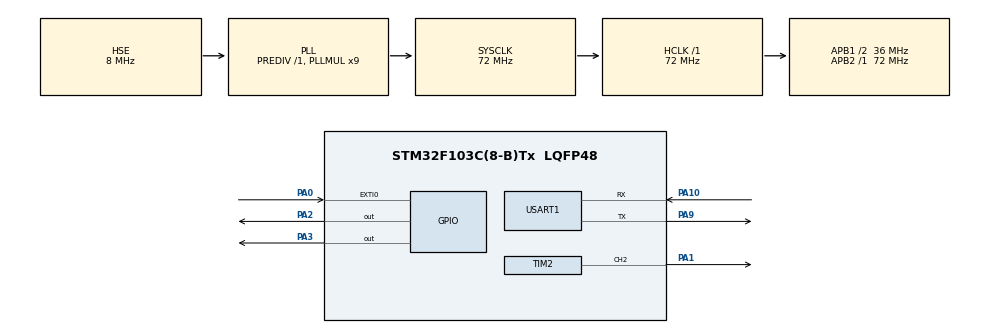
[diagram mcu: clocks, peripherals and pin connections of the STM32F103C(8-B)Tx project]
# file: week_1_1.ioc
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Mcu.Family=STM32F1
Mcu.Name=STM32F103C(8-B)Tx
Mcu.Package=LQFP48
NVIC.EXTI0_IRQn=true\:0\:0\:false\:false\:true\:true\:true\:true
NVIC.PriorityGroup=NVIC_PRIORITYGROUP_4
NVIC.TIM3_IRQn=true\:0\:0\:false\:false\:true\:true\:true\:true
NVIC.USART1_IRQn=true\:0\:0\:false\:false\:true\:true\:true\:true
PA0-WKUP.GPIO_PuPd=GPIO_PULLDOWN
PA0-WKUP.Signal=GPXTI0
PA1.Signal=S_TIM2_CH2
PA10.Mode=Asynchronous
PA10.Signal=USART1_RX
PA13.Mode=Serial_Wire
PA13.Signal=SYS_JTMS-SWDIO
PA14.Mode=Serial_Wire
PA14.Signal=SYS_JTCK-SWCLK
PA2.PinState=GPIO_PIN_SET
PA2.Signal=GPIO_Output
PA3.PinState=GPIO_PIN_SET
PA3.Signal=GPIO_Output
PA9.Mode=Asynchronous
PA9.Signal=USART1_TX
PC14-OSC32_IN.Mode=LSE-External-Oscillator
PC14-OSC32_IN.Signal=RCC_OSC32_IN
PC15-OSC32_OUT.Mode=LSE-External-Oscillator
PC15-OSC32_OUT.Signal=RCC_OSC32_OUT
PD0-OSC_IN.Mode=HSE-External-Oscillator
PD0-OSC_IN.Signal=RCC_OSC_IN
PD1-OSC_OUT.Mode=HSE-External-Oscillator
PD1-OSC_OUT.Signal=RCC_OSC_OUT
ProjectManager.HeapSize=0x200
ProjectManager.StackSize=0x400
ProjectManager.TargetToolchain=MDK-ARM V5.32
RCC.AHBFreq_Value=72000000
RCC.APB1CLKDivider=RCC_HCLK_DIV2
RCC.APB1Freq_Value=36000000
RCC.APB1TimFreq_Value=72000000
RCC.APB2Freq_Value=72000000
RCC.APB2TimFreq_Value=72000000
RCC.HCLKFreq_Value=72000000
RCC.PLLMUL=RCC_PLL_MUL9
RCC.PLLSourceVirtual=RCC_PLLSOURCE_HSE
RCC.SYSCLKFreq_VALUE=72000000
RCC.SYSCLKSource=RCC_SYSCLKSOURCE_PLLCLK
RCC.USBFreq_Value=72000000
SH.S_TIM2_CH2.0=TIM2_CH2,PWM Generation2 CH2
TIM2.Channel-PWM\ Generation2\ CH2=TIM_CHANNEL_2
TIM2.Period=999
TIM2.Prescaler=71
TIM3.AutoReloadPreload=TIM_AUTORELOAD_PRELOAD_ENABLE
TIM3.Period=4999
TIM3.Prescaler=7199
USART1.VirtualMode=VM_ASYNC
VP_TIM2_VS_ClockSourceINT.Mode=Internal
VP_TIM3_VS_ClockSourceINT.Mode=Internal
board=custom

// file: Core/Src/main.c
/* USER CODE BEGIN Header */
/**
  ******************************************************************************
  * @file           : main.c
  * @brief          : Main program body
  ******************************************************************************
  * @attention
  *
  * Copyright (c) 2026 STMicroelectronics.
  * All rights reserved.
  *
  * This software is licensed under terms that can be found in the LICENSE file
  * in the root directory of this software component.
  * If no LICENSE file comes with this software, it is provided AS-IS.
  *
  ******************************************************************************
  */
/* USER CODE END Header */
#include "main.h"
#include "tim.h"
#include "usart.h"
#include "gpio.h"

/* USER CODE BEGIN Includes */

#include "stdio.h"
#include <string.h>   /* strcmp / strncmp：用来比较命令字符串 */
#include <stdlib.h>   /* atoi：把 "80" 这种文本转成整数 80 */
/* USER CODE END Includes */

/* USER CODE BEGIN PV */
#define RX_SIZE 128	//环形缓存的定长，防止后续更改会出现不一致报错
uint8_t rx_byte;                  // HAL 接收的临时存放（过路站）电脑传来的单个存储，转环形缓存
uint8_t rx_buf[RX_SIZE];          // 环形缓冲区
volatile uint16_t rx_head = 0;    // 写指针（只有中断改）
volatile uint16_t rx_tail = 0;    // 读指针（只有主循环改）
volatile uint32_t rx_drop = 0;   // 丢了多少字节，环形缓存丢的时候用来计数的
volatile uint32_t tick_count = 0;   // TIM3 中断里加一

//volatile uint8_t rx_flag=0;//电脑记号
volatile uint8_t btn_flag=0;//按键记号

volatile uint32_t led1_off=0;//pa1 该在几毫秒灭（按键控制）
volatile uint32_t led2_off=0;//pa2 该在几毫秒灭（电脑串口控制）

//pwm的电脑输入然后来控制
#define CMD_MAX 24                  /* 一条命令最多 24 字符：够 "SET 100"，也不会白占 RAM */
char    cmd_buf[CMD_MAX];           /* 字符仓库：中断每来 1 字节，就往里塞一个 */
uint8_t cmd_len = 0;                /* 仓库里现在攒了几个字符，0 表示空的 */
volatile uint8_t pwm_mode = 0;      /* 0=呼吸 1=固定 2=灭；主循环每轮都看它，决定该干啥 */
int32_t pwm_fixed = 200;            /* SET 算出来的 CCR 值，默认先给个 80% 亮的档 */

/* USER CODE END PV */

void SystemClock_Config(void);
/* USER CODE BEGIN PFP */

//申明函数
void led_on(GPIO_TypeDef *port,uint16_t pin);
void led_off(GPIO_TypeDef *port,uint16_t pin);
void timer_start(volatile uint32_t *deadline,uint32_t ms);
uint8_t timer_expired(volatile uint32_t *deadline);
void uart_send(const char *text);
void uart_echo(uint8_t ch);
void HAL_UART_RxCpltCallback(UART_HandleTypeDef *huart);
void HAL_GPIO_EXTI_Callback(uint16_t gpio_pin);

//
static void handle_cmd(const char *s);

/* USER CODE END PFP */

int main(void)
{

  /* USER CODE BEGIN 1 */
	int32_t ccr = 1000;   /* 当前比较值，初始 1000 = 全灭 */
	int8_t  dir = -1;    /* 变化方向：-1 往 0 走（变亮），+1 往 1000 走（变暗） */
  /* USER CODE END 1 */

  /* MCU Configuration--------------------------------------------------------*/

  /* Reset of all peripherals, Initializes the Flash interface and the Systick. */
  HAL_Init();

  /* Configure the system clock */
  SystemClock_Config();

  /* Initialize all configured peripherals */
  MX_GPIO_Init();
  MX_USART1_UART_Init();
  MX_TIM3_Init();
  MX_TIM2_Init();
  /* USER CODE BEGIN 2 */

	HAL_TIM_PWM_Start(&htim2, TIM_CHANNEL_2);              /* 放行计数器，PA1 开始输出 PWM */
	__HAL_TIM_SET_COMPARE(&htim2, TIM_CHANNEL_2, 1000);     /* 上电先给全灭，避免一亮到底 */

//第一次唤醒中断
		HAL_UART_Receive_IT(&huart1,&rx_byte,1);
		HAL_TIM_Base_Start_IT(&htim3);//启动定时器

  /* USER CODE END 2 */

  /* Infinite loop */
  /* USER CODE BEGIN WHILE */
  while (1)
  {

		// 串口数据处理：缓冲里有多少取多少
		while (rx_tail != rx_head)
		{
				uint8_t ch = rx_buf[rx_tail];
            /* ==== 命令解析：把碎片字节拼成一条命令 ==== */
            if (ch == '\r' || ch == '\n')
            {
                /* 收到回车/换行 = 一条命令说完了，可以开工 */
                if (cmd_len > 0)              /* 连按两次回车会来空行，空的直接丢掉 */
                {
                    cmd_buf[cmd_len] = '\0';  /* C 字符串必须以 '\0' 结尾，否则 strcmp 读不到尽头 */
                    handle_cmd(cmd_buf);      /* 交给解析器 */
                    cmd_len = 0;              /* 清空仓库，准备收下一条 */
                }
            }
            else if (cmd_len < CMD_MAX - 1)   /* 留 1 格给结尾的 '\0'，防写溢出踩坏别的变量 */
            {
                cmd_buf[cmd_len++] = ch;      /* 先存字符，长度再 +1 */
            }
									rx_tail = (rx_tail + 1) % RX_SIZE;   /* 读完必须推进读指针，否则同一字节被反复读，死循环 */
		}

		//电脑发来数据的后续操作
/*		if(rx_flag==1)
		{
			uint8_t ch = rx_byte;
			rx_flag = 0;

			led_on(GPIOA,GPIO_PIN_2);
			timer_start(&led2_off,1000);
			uart_echo(ch);
		}
*/
		//按键后续操作
		if(btn_flag == 1)
		{
			btn_flag = 0;
			led_on(GPIOA,GPIO_PIN_3);
			timer_start(&led1_off,1000);
			uart_send("button pressed\r\n");
		}
		//灭灯，两个一起查一次，查到哪个灭哪个
		if(timer_expired(&led1_off))
		{
			led_off(GPIOA,GPIO_PIN_3);
		}
		if(timer_expired(&led2_off))
		{
			led_off(GPIOA,GPIO_PIN_2);
		}

		// 只在计数变化时打印，否则每秒会刷 100 行
		static uint32_t last_tick = 0;
		if (tick_count != last_tick)
		{
			last_tick = tick_count;
			printf("tick=%u\r\n", tick_count);
		}

		//pwm呼吸灯
            /* ==== 根据 pwm_mode 决定这一轮往 CCR 写什么 ==== */
            if (pwm_mode == 0)                          /* 呼吸：每轮微调一点，慢慢变亮变暗 */
            {
                ccr += dir * 5;                        /* 每轮走 5 档，配合下面的 10ms 约 2 秒半程 */
                if (ccr <= 0)   { ccr = 0;   dir = 1;  }  /* 到最亮就掉头往回（变暗） */
                if (ccr >= 1000) { ccr = 1000; dir = -1; }  /* 到最暗就掉头往回（变亮） */
                __HAL_TIM_SET_COMPARE(&htim2, TIM_CHANNEL_2, (uint32_t)ccr);
            }
            else if (pwm_mode == 1)                    /* 固定：直接把算好的值写进去 */
            {
                __HAL_TIM_SET_COMPARE(&htim2, TIM_CHANNEL_2, (uint32_t)pwm_fixed);
            }
            else                                       /* 灭：写 1000 = 全程高电平 = 共阳极全灭 */
            {
                __HAL_TIM_SET_COMPARE(&htim2, TIM_CHANNEL_2, 1000);
            }
		HAL_Delay(10);

    /* USER CODE END WHILE */

  }
}

void SystemClock_Config(void)
{
  RCC_OscInitTypeDef RCC_OscInitStruct = {0};
  RCC_ClkInitTypeDef RCC_ClkInitStruct = {0};

  /** Initializes the RCC Oscillators according to the specified parameters
  * in the RCC_OscInitTypeDef structure.
  */
  RCC_OscInitStruct.OscillatorType = RCC_OSCILLATORTYPE_HSE;
  RCC_OscInitStruct.HSEState = RCC_HSE_ON;
  RCC_OscInitStruct.HSEPredivValue = RCC_HSE_PREDIV_DIV1;
  RCC_OscInitStruct.HSIState = RCC_HSI_ON;
  RCC_OscInitStruct.PLL.PLLState = RCC_PLL_ON;
  RCC_OscInitStruct.PLL.PLLSource = RCC_PLLSOURCE_HSE;
  RCC_OscInitStruct.PLL.PLLMUL = RCC_PLL_MUL9;
  if (HAL_RCC_OscConfig(&RCC_OscInitStruct) != HAL_OK)
  {
    Error_Handler();
  }

  /** Initializes the CPU, AHB and APB buses clocks
  */
  RCC_ClkInitStruct.ClockType = RCC_CLOCKTYPE_HCLK|RCC_CLOCKTYPE_SYSCLK
                              |RCC_CLOCKTYPE_PCLK1|RCC_CLOCKTYPE_PCLK2;
  RCC_ClkInitStruct.SYSCLKSource = RCC_SYSCLKSOURCE_PLLCLK;
  RCC_ClkInitStruct.AHBCLKDivider = RCC_SYSCLK_DIV1;
  RCC_ClkInitStruct.APB1CLKDivider = RCC_HCLK_DIV2;
  RCC_ClkInitStruct.APB2CLKDivider = RCC_HCLK_DIV1;

  if (HAL_RCC_ClockConfig(&RCC_ClkInitStruct, FLASH_LATENCY_2) != HAL_OK)
  {
    Error_Handler();
  }
}

/* USER CODE BEGIN 4 */

//函数本体书写区域
//printf重写
int fputc(int ch,FILE *f)
{
	HAL_UART_Transmit(&huart1,(uint8_t *)&ch,1,HAL_MAX_DELAY);
	return ch;
}

//开灯函数（共阳极，低电平亮）
void led_on(GPIO_TypeDef *port,uint16_t pin)
{
	HAL_GPIO_WritePin(port,pin,GPIO_PIN_RESET);
}
//关灯，高电平灭
void led_off(GPIO_TypeDef *port,uint16_t pin)
{
	HAL_GPIO_WritePin(port,pin,GPIO_PIN_SET);
}
//计时：登记“现在”+“要计数到的时间”，从现在的时间开始计时不是从0也不是倒计时，没有返回的值，是吧赋的值直接给变量地址了无需传回，还在原地址
void timer_start(volatile uint32_t *deadline,uint32_t ms)
{
	*deadline = HAL_GetTick()+ms;
}
//计时，时间计时到1清零，防止0的重复多一毫秒,利用while（1）循环来循环，所以只if，用for的话会阻塞
uint8_t timer_expired(volatile uint32_t *deadline)
{
    if (*deadline != 0 && HAL_GetTick() >= *deadline)
    {
        *deadline = 0;
        return 1;
    }
    return 0;
}
//发送固定文字用于文字的显示，现已改不会换行
void uart_send(const char *text)
{
	printf("%s",text);
}
//回显一个字节，用于电脑发送来的数据
void uart_echo(uint8_t ch)
{
    HAL_UART_Transmit(&huart1, &ch, 1, HAL_MAX_DELAY);
}
//中断，串口的接受加回调，然后续上唤醒
/*
void HAL_UART_RxCpltCallback(UART_HandleTypeDef *huart)
{
	if(huart->Instance == USART1)
	{
		rx_flag=1;
		HAL_UART_Receive_IT(&huart1,&rx_byte,1);
	}
}
*/
//中断，按键的回调，加发送一个数据，然后续上唤醒
void HAL_GPIO_EXTI_Callback(uint16_t gpio_pin)
{
	if(gpio_pin == GPIO_PIN_0)
	{
		btn_flag=1;
	}
}

//中断，串口的接受加回调，然后续上唤醒,环形缓存保证数据的可以多字节接收到电脑的发送
void HAL_UART_RxCpltCallback(UART_HandleTypeDef *huart)
{
    if (huart->Instance == USART1)
    {
        uint16_t next = (rx_head + 1) % RX_SIZE;

        if (next != rx_tail)        // 没满，才存
        {
            rx_buf[rx_head] = rx_byte;// ① 存进缓冲区
            rx_head = next;// ② 指针前进并绕回
        }
        else
        {
            rx_drop++;              // 满了，丢弃这个新字节
        }

        HAL_UART_Receive_IT(&huart1, &rx_byte, 1);// ③ 立刻重挂
    }
}

// TIM3 到点（每 500ms）进这里
void HAL_TIM_PeriodElapsedCallback(TIM_HandleTypeDef *htim)
{
	if (htim->Instance == TIM3)
	{
		tick_count++;
	}
}

/* 解析一条完整命令：
 *   SET 80    固定亮度 80%
 *   BREATH    恢复呼吸
 *   STOP      全灭
 */
static void handle_cmd(const char *s)
{
	/* 只比较前 4 个字符 "SET "：后面还带数字，整串 strcmp 永远不相等。
	   空格不能省，少了 "SETTING" 也会被误判成 SET */
	if (strncmp(s, "SET ", 4) == 0)
	{
		int v = atoi(s + 4);        /* s+4 跳过 "SET " 四字节，正好指到数字开头；atoi 转整数 */

		if (v < 0)   v = 0;         /* atoi 遇到非法输入返回 0 而不报错，所以要自己夹住范围 */
		if (v > 100) v = 100;

		/* 1) 用户说的是"亮度"，CCR 记的是"暗度"，所以要 100-v
		   2) 乘 10 把 0~100 铺满 0~1000，才用尽 ARR 的分辨率；
		      不乘的话 SET 80 会算成 CCR 20，只有 2% 亮 */
		pwm_fixed = (100 - v) * 10;
		if (pwm_fixed > 999) pwm_fixed = 999;   /* SET 0 会算成 1000，超出 ARR 就夹回来 */
		pwm_mode  = 1;              /* 切到固定模式，主循环下一轮就拿 pwm_fixed 去写 CCR */
		printf("OK SET %d\r\n", v); /* 回显：给你一个"确实解析成功"的证据 */
	}
	else if (strcmp(s, "BREATH") == 0)   /* 无参数，可以整串精确比较 */
	{
		pwm_mode = 0;
		printf("OK BREATH\r\n");
	}
	else if (strcmp(s, "STOP") == 0)
	{
		pwm_mode = 2;
		printf("OK STOP\r\n");
	}
	else                                 /* 拼错、未知命令 */
	{
		printf("ERR unknown\r\n");
	}
}

/* USER CODE END 4 */

void Error_Handler(void)
{
  __disable_irq();
  while (1)
  {
  }
}
